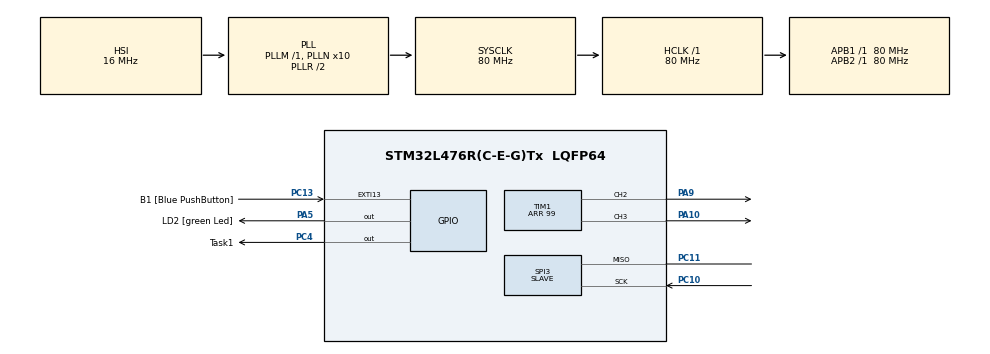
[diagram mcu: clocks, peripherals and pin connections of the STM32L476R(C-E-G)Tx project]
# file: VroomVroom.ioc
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Dma.Request0=TIM1_CH3
Dma.Request1=TIM1_CH2
Dma.TIM1_CH2.1.Direction=DMA_MEMORY_TO_PERIPH
Dma.TIM1_CH2.1.Instance=DMA1_Channel3
Dma.TIM1_CH2.1.MemDataAlignment=DMA_MDATAALIGN_HALFWORD
Dma.TIM1_CH2.1.MemInc=DMA_MINC_ENABLE
Dma.TIM1_CH2.1.Mode=DMA_NORMAL
Dma.TIM1_CH2.1.PeriphDataAlignment=DMA_PDATAALIGN_HALFWORD
Dma.TIM1_CH2.1.PeriphInc=DMA_PINC_DISABLE
Dma.TIM1_CH2.1.Priority=DMA_PRIORITY_HIGH
Dma.TIM1_CH3.0.Direction=DMA_MEMORY_TO_PERIPH
Dma.TIM1_CH3.0.Instance=DMA1_Channel7
Dma.TIM1_CH3.0.MemDataAlignment=DMA_MDATAALIGN_HALFWORD
Dma.TIM1_CH3.0.MemInc=DMA_MINC_ENABLE
Dma.TIM1_CH3.0.Mode=DMA_NORMAL
Dma.TIM1_CH3.0.PeriphDataAlignment=DMA_PDATAALIGN_HALFWORD
Dma.TIM1_CH3.0.PeriphInc=DMA_PINC_DISABLE
Dma.TIM1_CH3.0.Priority=DMA_PRIORITY_HIGH
FREERTOS.Tasks01=defaultTask,0,128,StartDefaultTask,Default,NULL,Dynamic,NULL,NULL
FREERTOS.configENABLE_BACKWARD_COMPATIBILITY=0
FREERTOS.configIDLE_SHOULD_YIELD=0
FREERTOS.configUSE_MUTEXES=0
Mcu.Family=STM32L4
Mcu.Name=STM32L476R(C-E-G)Tx
Mcu.Package=LQFP64
NVIC.DMA1_Channel3_IRQn=true\:5\:0\:false\:false\:true\:true\:false\:true\:true
NVIC.DMA1_Channel7_IRQn=true\:5\:0\:false\:false\:true\:true\:false\:true\:true
NVIC.PriorityGroup=NVIC_PRIORITYGROUP_4
PA10.Signal=S_TIM1_CH3
PA13\ (JTMS-SWDIO).GPIO_Label=TMS
PA13\ (JTMS-SWDIO).Signal=SYS_JTMS-SWDIO
PA14\ (JTCK-SWCLK).GPIO_Label=TCK
PA14\ (JTCK-SWCLK).Signal=SYS_JTCK-SWCLK
PA2.GPIO_Label=USART_TX
PA2.GPIO_Mode=GPIO_MODE_AF_PP
PA2.GPIO_PuPd=GPIO_NOPULL
PA2.GPIO_Speed=GPIO_SPEED_FREQ_VERY_HIGH
PA2.Signal=USART2_TX
PA3.GPIO_Label=USART_RX
PA3.GPIO_Mode=GPIO_MODE_AF_PP
PA3.GPIO_PuPd=GPIO_NOPULL
PA3.GPIO_Speed=GPIO_SPEED_FREQ_VERY_HIGH
PA3.Signal=USART2_RX
PA5.GPIO_Label=LD2 [green Led]
PA5.GPIO_ModeDefaultOutputPP=GPIO_MODE_OUTPUT_PP
PA5.GPIO_PuPd=GPIO_NOPULL
PA5.GPIO_Speed=GPIO_SPEED_FREQ_LOW
PA5.Signal=GPIO_Output
PA9.Signal=S_TIM1_CH2
PB3\ (JTDO-TRACESWO).GPIO_Label=SWO
PB3\ (JTDO-TRACESWO).Signal=SYS_JTDO-SWO
PC10.Mode=Simplex_Bidirectional_Slave
PC10.Signal=SPI3_SCK
PC11.Mode=Simplex_Bidirectional_Slave
PC11.Signal=SPI3_MISO
PC13.GPIO_Label=B1 [Blue PushButton]
PC13.GPIO_ModeDefaultEXTI=GPIO_MODE_IT_FALLING
PC13.GPIO_PuPd=GPIO_NOPULL
PC13.Signal=GPXTI13
PC14-OSC32_IN\ (PC14).Signal=RCC_OSC32_IN
PC15-OSC32_OUT\ (PC15).Signal=RCC_OSC32_OUT
PC4.GPIO_Label=Task1
PC4.Signal=GPIO_Output
PH0-OSC_IN\ (PH0).Signal=RCC_OSC_IN
PH1-OSC_OUT\ (PH1).Signal=RCC_OSC_OUT
ProjectManager.HeapSize=0x200
ProjectManager.StackSize=0x400
ProjectManager.TargetToolchain=STM32CubeIDE
RCC.ADCFreq_Value=64000000
RCC.AHBFreq_Value=80000000
RCC.APB1Freq_Value=80000000
RCC.APB1TimFreq_Value=80000000
RCC.APB2Freq_Value=80000000
RCC.APB2TimFreq_Value=80000000
RCC.CortexFreq_Value=80000000
RCC.HCLKFreq_Value=80000000
RCC.HSE_VALUE=8000000
RCC.HSI_VALUE=16000000
RCC.LSE_VALUE=32768
RCC.MSI_VALUE=4000000
RCC.PLLN=10
RCC.PLLSourceVirtual=RCC_PLLSOURCE_HSI
RCC.PREFETCH_ENABLE=1
RCC.SYSCLKFreq_VALUE=80000000
RCC.SYSCLKSource=RCC_SYSCLKSOURCE_PLLCLK
RCC.USBFreq_Value=64000000
RCC.VCOOutputFreq_Value=160000000
SH.S_TIM1_CH2.0=TIM1_CH2,PWM Generation2 CH2
SH.S_TIM1_CH3.0=TIM1_CH3,PWM Generation3 CH3
SPI3.Direction=SPI_DIRECTION_1LINE
SPI3.Mode=SPI_MODE_SLAVE
SPI3.VirtualType=VM_SLAVE
TIM1.AutoReloadPreload=TIM_AUTORELOAD_PRELOAD_ENABLE
TIM1.Channel-PWM\ Generation2\ CH2=TIM_CHANNEL_2
TIM1.Channel-PWM\ Generation3\ CH3=TIM_CHANNEL_3
TIM1.OCFastMode_PWM-PWM\ Generation2\ CH2=TIM_OCFAST_ENABLE
TIM1.OCFastMode_PWM-PWM\ Generation3\ CH3=TIM_OCFAST_ENABLE
TIM1.Period=99
VP_FREERTOS_VS_CMSIS_V1.Mode=CMSIS_V1
VP_TIM1_VS_ClockSourceINT.Mode=Internal
board=NUCLEO-L476RG

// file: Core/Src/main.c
/* USER CODE BEGIN Header */
/**
  ******************************************************************************
  * @file           : main.c
  * @brief          : Main program body
  ******************************************************************************
  * @attention
  *
  * Copyright (c) 2025 STMicroelectronics.
  * All rights reserved.
  *
  * This software is licensed under terms that can be found in the LICENSE file
  * in the root directory of this software component.
  * If no LICENSE file comes with this software, it is provided AS-IS.
  *
  ******************************************************************************
  */
/* USER CODE END Header */
#include "main.h"
#include "cmsis_os.h"

/* USER CODE BEGIN Includes */
#include "ensi_uart.h"
/* USER CODE END Includes */

SPI_HandleTypeDef hspi3;

TIM_HandleTypeDef htim1;
DMA_HandleTypeDef hdma_tim1_ch3;
DMA_HandleTypeDef hdma_tim1_ch2;

osThreadId defaultTaskHandle;

void SystemClock_Config(void);
static void MX_GPIO_Init(void);
static void MX_DMA_Init(void);
static void MX_TIM1_Init(void);
static void MX_SPI3_Init(void);
void StartDefaultTask(void const * argument);

int main(void)
{

  /* MCU Configuration--------------------------------------------------------*/

  /* Reset of all peripherals, Initializes the Flash interface and the Systick. */
  HAL_Init();

  /* Configure the system clock */
  SystemClock_Config();

  /* Initialize all configured peripherals */
  MX_GPIO_Init();
  MX_DMA_Init();
  MX_TIM1_Init();
  MX_SPI3_Init();
  /* USER CODE BEGIN 2 */

  ENSI_UART_Init();
  ENSI_UART_PutString((uint8_t*)"\r\n Yoooo le boss !");
  app_init();

  /* USER CODE END 2 */

  /* Create the thread(s) */
  /* definition and creation of defaultTask */
  osThreadDef(defaultTask, StartDefaultTask, osPriorityNormal, 0, 128);
  defaultTaskHandle = osThreadCreate(osThread(defaultTask), NULL);

  /* Start scheduler */
  osKernelStart();

  /* We should never get here as control is now taken by the scheduler */

  /* Infinite loop */
  while (1)
  {

  }
}

void SystemClock_Config(void)
{
  RCC_OscInitTypeDef RCC_OscInitStruct = {0};
  RCC_ClkInitTypeDef RCC_ClkInitStruct = {0};

  /** Configure the main internal regulator output voltage
  */
  if (HAL_PWREx_ControlVoltageScaling(PWR_REGULATOR_VOLTAGE_SCALE1) != HAL_OK)
  {
    Error_Handler();
  }

  /** Initializes the RCC Oscillators according to the specified parameters
  * in the RCC_OscInitTypeDef structure.
  */
  RCC_OscInitStruct.OscillatorType = RCC_OSCILLATORTYPE_HSI;
  RCC_OscInitStruct.HSIState = RCC_HSI_ON;
  RCC_OscInitStruct.HSICalibrationValue = RCC_HSICALIBRATION_DEFAULT;
  RCC_OscInitStruct.PLL.PLLState = RCC_PLL_ON;
  RCC_OscInitStruct.PLL.PLLSource = RCC_PLLSOURCE_HSI;
  RCC_OscInitStruct.PLL.PLLM = 1;
  RCC_OscInitStruct.PLL.PLLN = 10;
  RCC_OscInitStruct.PLL.PLLP = RCC_PLLP_DIV7;
  RCC_OscInitStruct.PLL.PLLQ = RCC_PLLQ_DIV2;
  RCC_OscInitStruct.PLL.PLLR = RCC_PLLR_DIV2;
  if (HAL_RCC_OscConfig(&RCC_OscInitStruct) != HAL_OK)
  {
    Error_Handler();
  }

  /** Initializes the CPU, AHB and APB buses clocks
  */
  RCC_ClkInitStruct.ClockType = RCC_CLOCKTYPE_HCLK|RCC_CLOCKTYPE_SYSCLK
                              |RCC_CLOCKTYPE_PCLK1|RCC_CLOCKTYPE_PCLK2;
  RCC_ClkInitStruct.SYSCLKSource = RCC_SYSCLKSOURCE_PLLCLK;
  RCC_ClkInitStruct.AHBCLKDivider = RCC_SYSCLK_DIV1;
  RCC_ClkInitStruct.APB1CLKDivider = RCC_HCLK_DIV1;
  RCC_ClkInitStruct.APB2CLKDivider = RCC_HCLK_DIV1;

  if (HAL_RCC_ClockConfig(&RCC_ClkInitStruct, FLASH_LATENCY_4) != HAL_OK)
  {
    Error_Handler();
  }
}

static void MX_SPI3_Init(void)
{

  /* SPI3 parameter configuration*/
  hspi3.Instance = SPI3;
  hspi3.Init.Mode = SPI_MODE_SLAVE;
  hspi3.Init.Direction = SPI_DIRECTION_1LINE;
  hspi3.Init.DataSize = SPI_DATASIZE_4BIT;
  hspi3.Init.CLKPolarity = SPI_POLARITY_LOW;
  hspi3.Init.CLKPhase = SPI_PHASE_1EDGE;
  hspi3.Init.NSS = SPI_NSS_SOFT;
  hspi3.Init.FirstBit = SPI_FIRSTBIT_MSB;
  hspi3.Init.TIMode = SPI_TIMODE_DISABLE;
  hspi3.Init.CRCCalculation = SPI_CRCCALCULATION_DISABLE;
  hspi3.Init.CRCPolynomial = 7;
  hspi3.Init.CRCLength = SPI_CRC_LENGTH_DATASIZE;
  hspi3.Init.NSSPMode = SPI_NSS_PULSE_DISABLE;
  if (HAL_SPI_Init(&hspi3) != HAL_OK)
  {
    Error_Handler();
  }

}

static void MX_TIM1_Init(void)
{

  TIM_ClockConfigTypeDef sClockSourceConfig = {0};
  TIM_MasterConfigTypeDef sMasterConfig = {0};
  TIM_OC_InitTypeDef sConfigOC = {0};
  TIM_BreakDeadTimeConfigTypeDef sBreakDeadTimeConfig = {0};

  htim1.Instance = TIM1;
  htim1.Init.Prescaler = 0;
  htim1.Init.CounterMode = TIM_COUNTERMODE_UP;
  htim1.Init.Period = 99;
  htim1.Init.ClockDivision = TIM_CLOCKDIVISION_DIV1;
  htim1.Init.RepetitionCounter = 0;
  htim1.Init.AutoReloadPreload = TIM_AUTORELOAD_PRELOAD_ENABLE;
  if (HAL_TIM_Base_Init(&htim1) != HAL_OK)
  {
    Error_Handler();
  }
  sClockSourceConfig.ClockSource = TIM_CLOCKSOURCE_INTERNAL;
  if (HAL_TIM_ConfigClockSource(&htim1, &sClockSourceConfig) != HAL_OK)
  {
    Error_Handler();
  }
  if (HAL_TIM_PWM_Init(&htim1) != HAL_OK)
  {
    Error_Handler();
  }
  sMasterConfig.MasterOutputTrigger = TIM_TRGO_RESET;
  sMasterConfig.MasterOutputTrigger2 = TIM_TRGO2_RESET;
  sMasterConfig.MasterSlaveMode = TIM_MASTERSLAVEMODE_DISABLE;
  if (HAL_TIMEx_MasterConfigSynchronization(&htim1, &sMasterConfig) != HAL_OK)
  {
    Error_Handler();
  }
  sConfigOC.OCMode = TIM_OCMODE_PWM1;
  sConfigOC.Pulse = 0;
  sConfigOC.OCPolarity = TIM_OCPOLARITY_HIGH;
  sConfigOC.OCNPolarity = TIM_OCNPOLARITY_HIGH;
  sConfigOC.OCFastMode = TIM_OCFAST_ENABLE;
  sConfigOC.OCIdleState = TIM_OCIDLESTATE_RESET;
  sConfigOC.OCNIdleState = TIM_OCNIDLESTATE_RESET;
  if (HAL_TIM_PWM_ConfigChannel(&htim1, &sConfigOC, TIM_CHANNEL_2) != HAL_OK)
  {
    Error_Handler();
  }
  if (HAL_TIM_PWM_ConfigChannel(&htim1, &sConfigOC, TIM_CHANNEL_3) != HAL_OK)
  {
    Error_Handler();
  }
  sBreakDeadTimeConfig.OffStateRunMode = TIM_OSSR_DISABLE;
  sBreakDeadTimeConfig.OffStateIDLEMode = TIM_OSSI_DISABLE;
  sBreakDeadTimeConfig.LockLevel = TIM_LOCKLEVEL_OFF;
  sBreakDeadTimeConfig.DeadTime = 0;
  sBreakDeadTimeConfig.BreakState = TIM_BREAK_DISABLE;
  sBreakDeadTimeConfig.BreakPolarity = TIM_BREAKPOLARITY_HIGH;
  sBreakDeadTimeConfig.BreakFilter = 0;
  sBreakDeadTimeConfig.Break2State = TIM_BREAK2_DISABLE;
  sBreakDeadTimeConfig.Break2Polarity = TIM_BREAK2POLARITY_HIGH;
  sBreakDeadTimeConfig.Break2Filter = 0;
  sBreakDeadTimeConfig.AutomaticOutput = TIM_AUTOMATICOUTPUT_DISABLE;
  if (HAL_TIMEx_ConfigBreakDeadTime(&htim1, &sBreakDeadTimeConfig) != HAL_OK)
  {
    Error_Handler();
  }
  HAL_TIM_MspPostInit(&htim1);

}

static void MX_DMA_Init(void)
{

  /* DMA controller clock enable */
  __HAL_RCC_DMA1_CLK_ENABLE();

  /* DMA interrupt init */
  /* DMA1_Channel3_IRQn interrupt configuration */
  HAL_NVIC_SetPriority(DMA1_Channel3_IRQn, 5, 0);
  HAL_NVIC_EnableIRQ(DMA1_Channel3_IRQn);
  /* DMA1_Channel7_IRQn interrupt configuration */
  HAL_NVIC_SetPriority(DMA1_Channel7_IRQn, 5, 0);
  HAL_NVIC_EnableIRQ(DMA1_Channel7_IRQn);

}

static void MX_GPIO_Init(void)
{
  GPIO_InitTypeDef GPIO_InitStruct = {0};

  /* GPIO Ports Clock Enable */
  __HAL_RCC_GPIOC_CLK_ENABLE();
  __HAL_RCC_GPIOH_CLK_ENABLE();
  __HAL_RCC_GPIOA_CLK_ENABLE();
  __HAL_RCC_GPIOB_CLK_ENABLE();

  /*Configure GPIO pin Output Level */
  HAL_GPIO_WritePin(LD2_GPIO_Port, LD2_Pin, GPIO_PIN_RESET);

  /*Configure GPIO pin Output Level */
  HAL_GPIO_WritePin(Task1_GPIO_Port, Task1_Pin, GPIO_PIN_RESET);

  /*Configure GPIO pin : B1_Pin */
  GPIO_InitStruct.Pin = B1_Pin;
  GPIO_InitStruct.Mode = GPIO_MODE_IT_FALLING;
  GPIO_InitStruct.Pull = GPIO_NOPULL;
  HAL_GPIO_Init(B1_GPIO_Port, &GPIO_InitStruct);

  /*Configure GPIO pins : USART_TX_Pin USART_RX_Pin */
  GPIO_InitStruct.Pin = USART_TX_Pin|USART_RX_Pin;
  GPIO_InitStruct.Mode = GPIO_MODE_AF_PP;
  GPIO_InitStruct.Pull = GPIO_NOPULL;
  GPIO_InitStruct.Speed = GPIO_SPEED_FREQ_VERY_HIGH;
  GPIO_InitStruct.Alternate = GPIO_AF7_USART2;
  HAL_GPIO_Init(GPIOA, &GPIO_InitStruct);

  /*Configure GPIO pin : LD2_Pin */
  GPIO_InitStruct.Pin = LD2_Pin;
  GPIO_InitStruct.Mode = GPIO_MODE_OUTPUT_PP;
  GPIO_InitStruct.Pull = GPIO_NOPULL;
  GPIO_InitStruct.Speed = GPIO_SPEED_FREQ_LOW;
  HAL_GPIO_Init(LD2_GPIO_Port, &GPIO_InitStruct);

  /*Configure GPIO pin : Task1_Pin */
  GPIO_InitStruct.Pin = Task1_Pin;
  GPIO_InitStruct.Mode = GPIO_MODE_OUTPUT_PP;
  GPIO_InitStruct.Pull = GPIO_NOPULL;
  GPIO_InitStruct.Speed = GPIO_SPEED_FREQ_LOW;
  HAL_GPIO_Init(Task1_GPIO_Port, &GPIO_InitStruct);

}

void StartDefaultTask(void const * argument)
{
  for(;;)
  {
    osDelay(1);
  }
}

void Error_Handler(void)
{
  __disable_irq();
  while (1)
  {
  }
}

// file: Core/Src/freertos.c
/* USER CODE BEGIN Header */
	/**
	  ******************************************************************************
	  * File Name          : freertos.c
	  * Description        : Code for freertos applications
	  ******************************************************************************
	  * @attention
	  *
	  * Copyright (c) 2025 STMicroelectronics.
	  * All rights reserved.
	  *
	  * This software is licensed under terms that can be found in the LICENSE file
	  * in the root directory of this software component.
	  * If no LICENSE file comes with this software, it is provided AS-IS.
	  *
	  ******************************************************************************
	  */
/* USER CODE END Header */

#include "FreeRTOS.h"
#include "task.h"
#include "main.h"

/* USER CODE BEGIN Includes */
#include "ensi_uart.h"
#include <string.h>

/* USER CODE END Includes */

/* USER CODE BEGIN Variables */

extern TIM_HandleTypeDef htim1;
extern DMA_HandleTypeDef hdma_tim1_ch3;
extern DMA_HandleTypeDef hdma_tim1_ch2;

static uint16_t led_buffer[LED_BUFFER_SIZE];
static uint8_t RGB_buffer[LED_COUNT][3];

static uint16_t circle_led_buffer[CIRCLE_LED_BUFFER_SIZE];
static uint8_t circle_RGBW_buffer[CIRCLE_LED_COUNT][4];

/* USER CODE END Variables */

/* USER CODE BEGIN FunctionPrototypes */

static void byte_to_pwm(uint8_t byte, uint16_t *out);

void np_set_pixel(uint16_t i, uint8_t r, uint8_t g, uint8_t b);
void np_set_all_leds(uint8_t r, uint8_t g, uint8_t b);
void np_clear(void);
void np_show(void);

void np_set_pixel_circle(uint16_t i, uint8_t r, uint8_t g, uint8_t b, uint8_t w);
void np_set_all_leds_circle(uint8_t r, uint8_t g, uint8_t b, uint8_t w);
void np_clear_circle(void);
void np_show_circle(void);

/*
 *
 * STICK LED
 *
 */

static void byte_to_pwm(uint8_t byte, uint16_t *out) {
  for (int i = 0; i < 8; i++) {
    out[i] = (byte & (1 << (7 - i))) ? T1H_TICKS : T0H_TICKS;
  }
}

void np_set_pixel(uint16_t i, uint8_t r, uint8_t g, uint8_t b) {
  if (i >= LED_COUNT) return;
  RGB_buffer[i][0] = g;
  RGB_buffer[i][1] = r;
  RGB_buffer[i][2] = b;
}

void np_set_all_leds(uint8_t r, uint8_t g, uint8_t b){
	for (int pos = 0; pos < LED_COUNT; pos++) {
		np_set_pixel(pos, r, g, b);
	}
}

void np_clear(void) {
  memset(RGB_buffer, 0, sizeof(RGB_buffer));
}

void np_show(void) {
  uint16_t *p = led_buffer;
  for (int i = 0; i < LED_COUNT; i++) {
    byte_to_pwm(RGB_buffer[i][0], p); p += 8; // G
    byte_to_pwm(RGB_buffer[i][1], p); p += 8; // R
    byte_to_pwm(RGB_buffer[i][2], p); p += 8; // B
  }
  for (int i = 0; i < RESET_SLOTS; i++) *p++ = 0;

  __HAL_TIM_SET_AUTORELOAD(&htim1, ARR_VALUE);

  HAL_TIM_PWM_Start_DMA(&htim1, TIM_CHANNEL_3,
                        (uint32_t*)led_buffer, (uint32_t)(p - led_buffer));

  while (hdma_tim1_ch3.State != HAL_DMA_STATE_READY) { }

  HAL_TIM_PWM_Stop_DMA(&htim1, TIM_CHANNEL_3);

}

/*
 *
 * CIRCLE LED
 *
 */

void np_set_pixel_circle(uint16_t i, uint8_t r, uint8_t g, uint8_t b, uint8_t w) {
  if (i >= CIRCLE_LED_COUNT) return;
  circle_RGBW_buffer[i][0] = g;
  circle_RGBW_buffer[i][1] = r;
  circle_RGBW_buffer[i][2] = b;
  circle_RGBW_buffer[i][3] = w;
}

void np_set_all_leds_circle(uint8_t r, uint8_t g, uint8_t b, uint8_t w){
	for (int pos = 0; pos < CIRCLE_LED_COUNT; pos++) {
		np_set_pixel_circle(pos, r, g, b, w);
	}
}

void np_clear_circle(void) {
  memset(circle_RGBW_buffer, 0, sizeof(circle_RGBW_buffer));
}

void np_show_circle(void) {
  uint16_t *p = circle_led_buffer;
  for (int i = 0; i < CIRCLE_LED_COUNT; i++) {
    byte_to_pwm(circle_RGBW_buffer[i][0], p); p += 8; // G
    byte_to_pwm(circle_RGBW_buffer[i][1], p); p += 8; // R
    byte_to_pwm(circle_RGBW_buffer[i][2], p); p += 8; // B
    byte_to_pwm(circle_RGBW_buffer[i][3], p); p += 8; // W
  }
  for (int i = 0; i < RESET_SLOTS; i++) *p++ = 0;

  __HAL_TIM_SET_AUTORELOAD(&htim1, ARR_VALUE);

  HAL_TIM_PWM_Start_DMA(&htim1, TIM_CHANNEL_2,
                        (uint32_t*)circle_led_buffer, (uint32_t)(p - circle_led_buffer));

  // Attendre la fin du DMA
  while (hdma_tim1_ch2.State != HAL_DMA_STATE_READY) { }

  HAL_TIM_PWM_Stop_DMA(&htim1, TIM_CHANNEL_2);

}

/* USER CODE END FunctionPrototypes */

/* GetIdleTaskMemory prototype (linked to static allocation support) */
void vApplicationGetIdleTaskMemory( StaticTask_t **ppxIdleTaskTCBBuffer, StackType_t **ppxIdleTaskStackBuffer, uint32_t *pulIdleTaskStackSize );

/* USER CODE BEGIN GET_IDLE_TASK_MEMORY */
static StaticTask_t xIdleTaskTCBBuffer;
static StackType_t xIdleStack[configMINIMAL_STACK_SIZE];

void vApplicationGetIdleTaskMemory( StaticTask_t **ppxIdleTaskTCBBuffer, StackType_t **ppxIdleTaskStackBuffer, uint32_t *pulIdleTaskStackSize ) {
	*ppxIdleTaskTCBBuffer = &xIdleTaskTCBBuffer;
	*ppxIdleTaskStackBuffer = &xIdleStack[0];
	 *pulIdleTaskStackSize = configMINIMAL_STACK_SIZE;
	  /* place for user code */
}
/* USER CODE END GET_IDLE_TASK_MEMORY */

/* USER CODE BEGIN Application */
TickType_t tick;

void app_init(void);

void LED_ON(void *pvParameters);
void CircleLED_ON(void *pvParameters);

void app_init(void){

	xTaskCreate(LED_ON, "Barrette_LED", configMINIMAL_STACK_SIZE, NULL, tskIDLE_PRIORITY, NULL);
	xTaskCreate(CircleLED_ON, "LED_Circulaire", configMINIMAL_STACK_SIZE, NULL, tskIDLE_PRIORITY, NULL);

}

void LED_ON(void *pvParameters){
	while(1){

			np_clear();
			for (int pos = 0; pos < 4; pos++) {
				np_set_pixel(pos, 255, 0, 0);
			}
			for (int pos = 4; pos < LED_COUNT; pos++) {
				np_set_pixel(pos, 0, 0, 255);
			}
	  	    np_show();

	  	    HAL_Delay(200);

			np_clear();
			for (int pos = 0; pos < 4; pos++) {
				np_set_pixel(pos, 0, 0, 255);
			}
			for (int pos = 4; pos < LED_COUNT; pos++) {
				np_set_pixel(pos, 255, 0, 0);
			}
	  	    np_show();

	  	    HAL_Delay(200);
	}
}

void CircleLED_ON(void *pvParameters){

	while(1){

		np_clear_circle();
		np_set_all_leds_circle(0, 0, 255, 0);
  	    np_show_circle();

  	    HAL_Delay(200);

  	    np_clear_circle();
  	    np_set_all_leds_circle(255, 0, 0, 0);
  	    np_show_circle();

  	    HAL_Delay(200);
	}

}

/* USER CODE END Application */
